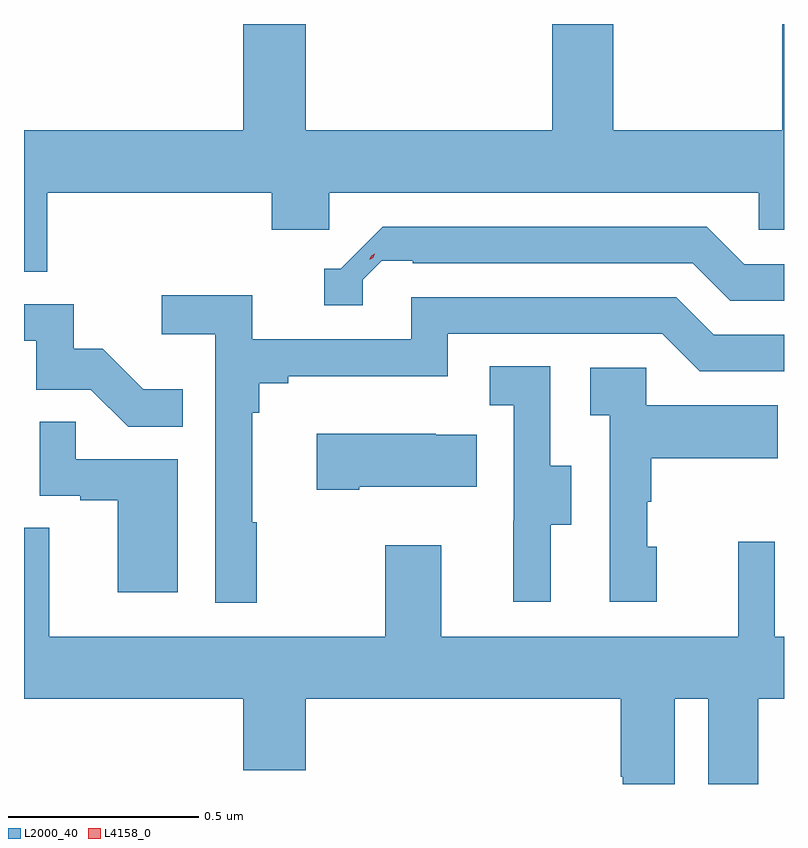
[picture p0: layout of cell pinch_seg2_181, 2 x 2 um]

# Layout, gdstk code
import gdstk
lib = gdstk.Library(unit=1e-6, precision=1e-09)
def P(c, l, *ps):  # polygons
    for p in ps: c.add(gdstk.Polygon(p, *l))
L2000_40 = (2000, 40)
L4158_0 = (4158, 0)

pinch_seg2_181 = lib.new_cell('pinch_seg2_181')
P(pinch_seg2_181, L2000_40, [(1141.514,644.972),(1142.105,644.972),(1142.105,644.874),(1142.256,644.874),(1142.256,644.972),(1143.387,644.972),(1143.387,644.874),(1143.453,644.874),(1143.453,645.416),(1143.448,645.416),(1143.448,645.136),(1143.003,645.136),(1143.003,645.416),(1142.843,645.416),(1142.843,645.136),(1142.194,645.136),(1142.194,645.416),(1142.03,645.416),(1142.03,645.136),(1141.453,645.136),(1141.453,644.764),(1141.514,644.764)],
  [(1142.345,644.743),(1142.395,644.793),(1142.476,644.793),(1142.476,644.787),(1143.213,644.787),(1143.312,644.688),(1143.453,644.688),(1143.453,644.784),(1143.349,644.784),(1143.25,644.883),(1142.397,644.883),(1142.286,644.772),(1142.243,644.772),(1142.243,644.676),(1142.345,644.676)],
  [(1142.065,644.105),(1142.053,644.105),(1142.053,644.393),(1142.072,644.393),(1142.072,644.47),(1142.149,644.47),(1142.149,644.489),(1142.568,644.489),(1142.568,644.601),(1143.132,644.601),(1143.231,644.502),(1143.453,644.502),(1143.453,644.598),(1143.268,644.598),(1143.169,644.697),(1142.472,644.697),(1142.472,644.586),(1142.054,644.586),(1142.054,644.702),(1141.815,644.702),(1141.815,644.6),(1141.956,644.6),(1141.956,643.893),(1142.065,643.893)],
  [(1141.871,644.455),(1141.767,644.455),(1141.66,644.562),(1141.584,644.562),(1141.584,644.679),(1141.453,644.679),(1141.453,644.583),(1141.485,644.583),(1141.485,644.454),(1141.629,644.454),(1141.727,644.356),(1141.871,644.356)],
  [(1142.839,644.098),(1142.893,644.098),(1142.893,644.253),(1142.838,644.253),(1142.838,644.516),(1142.679,644.516),(1142.679,644.413),(1142.742,644.413),(1142.742,644.109),(1142.741,644.109),(1142.741,643.896),(1142.839,643.896)],
  [(1143.118,644.04),(1143.093,644.04),(1143.093,644.159),(1143.103,644.159),(1143.103,644.273),(1143.437,644.273),(1143.437,644.413),(1143.09,644.413),(1143.09,644.511),(1142.943,644.511),(1142.943,644.387),(1142.994,644.387),(1142.994,643.896),(1143.118,643.896)],
  [(1141.858,644.271),(1141.589,644.271),(1141.589,644.369),(1141.494,644.369),(1141.494,644.175),(1141.601,644.175),(1141.601,644.163),(1141.7,644.163),(1141.7,643.92),(1141.858,643.92)],
  [(1142.335,644.198),(1142.645,644.198),(1142.645,644.335),(1142.537,644.335),(1142.537,644.338),(1142.223,644.338),(1142.223,644.191),(1142.335,644.191)],
  [(1143.166,643.64),(1143.254,643.64),(1143.254,643.416),(1143.385,643.416),(1143.385,643.64),(1143.453,643.64),(1143.453,643.804),(1143.429,643.804),(1143.429,644.053),(1143.332,644.053),(1143.332,643.804),(1142.551,643.804),(1142.551,644.044),(1142.404,644.044),(1142.404,643.804),(1141.519,643.804),(1141.519,644.09),(1141.453,644.09),(1141.453,643.64),(1142.03,643.64),(1142.03,643.452),(1142.194,643.452),(1142.194,643.64),(1143.023,643.64),(1143.023,643.435),(1143.029,643.435),(1143.029,643.416),(1143.166,643.416)])
P(pinch_seg2_181, L4158_0, [(1142.362,644.796),(1142.367,644.806),(1142.367,644.806),(1142.367,644.806),(1142.376,644.811),(1142.372,644.801),(1142.372,644.801),(1142.372,644.801)])

lib.write_gds('pinch_seg2_181.gds')
